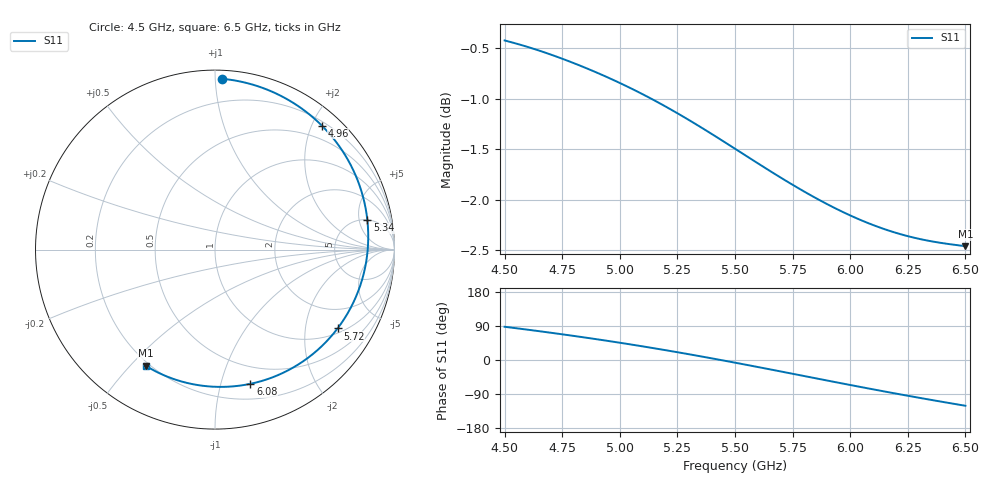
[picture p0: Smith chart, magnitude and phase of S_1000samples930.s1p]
! TOUCHSTONE file generated by CST MICROWAVE STUDIO
! Date and time: Sat Oct 29 20:20:44 2022
! Project name: L.cst
! Parameters = {Di=1.27; Epsilon_r=1.56; InnerDiameter=1.27; Length=2; Lf=10; Lg=60; OuterConductorThickness=0.2921; OuterDiameter=3.6; Wf=3; Wp=41.2; de=1.5; df=6.8; g=0.8; gx=2.82838; gy=2.74975; h=2.34; hf=1.524; px=9.82436; py=10.1999; w=9.7; wx=6.99598; wy=7.4502}
! Header version: 2018
! Port assignment regex: !\s*Touchstone port\s*([0-9]+)\s*=\s*(CST MWS port|CST DS port)\s*([0-9]+|Zmin|Zmax)\s*\(\"(.*)\"\)(\s*mode\s*([0-9]+))?.*
! Touchstone port assignment:
! Touchstone port 1 = CST MWS port 1 ("")
# GHz S DB R 50
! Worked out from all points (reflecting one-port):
!   101 points, 4.5 GHz to 6.5 GHz, reference 50 ohm
!   lowest |S11| = -2.5 dB at 6.5 GHz (marker M1), VSWR 7.11, Z = 9.24 - j27.7 ohm
!   phase of S11 starts at 88 deg and turns -208 deg over the sweep
!   S11 on the Smith chart (normalised r, x): 4.5 GHz: 0.05, +1.04; 4.96 GHz: 0.26, +2.15; 5.34 GHz: 5.12, +6.60; 5.72 GHz: 1.16, -2.99; 6.08 GHz: 0.33, -1.24; 6.5 GHz: 0.18, -0.55
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4.5  -0.42 87.7
4.58  -0.47 81.5
4.64  -0.51 76.8
4.76  -0.61 67.0
4.86  -0.70 58.3
4.96  -0.80 49.3
5  -0.84 45.5
5.06  -0.91 39.8
5.14  -1.00 31.9
5.2  -1.08 25.8
5.26  -1.16 19.5
5.34  -1.26 10.9
5.42  -1.38 2.0
5.5  -1.49 -7.0
5.6  -1.64 -18.6
5.66  -1.73 -25.7
5.72  -1.81 -32.8
5.76  -1.86 -37.5
5.82  -1.94 -44.7
5.88  -2.02 -51.8
5.94  -2.09 -58.9
6  -2.15 -65.9
6.08  -2.23 -75.2
6.16  -2.30 -84.3
6.26  -2.36 -95.4
6.32  -2.40 -101.9
6.38  -2.42 -108.3
6.5  -2.46 -120.8
